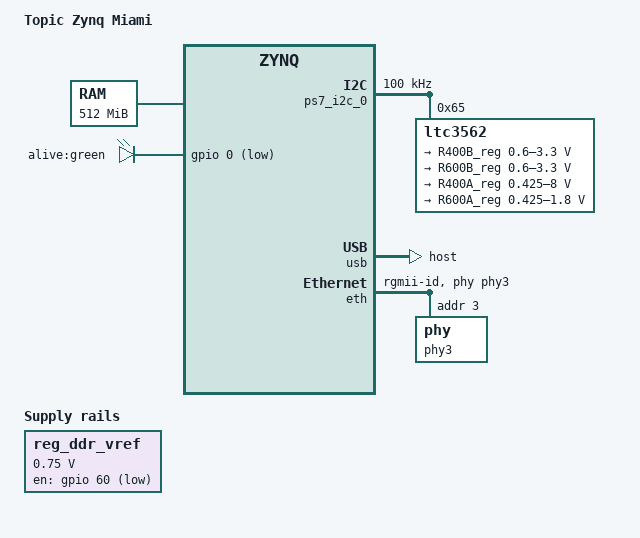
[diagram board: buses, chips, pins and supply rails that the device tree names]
/include/ "zynq.dtsi"

/ {
	model = "Topic Zynq Miami";
	memory {
		device_type = "memory";
		reg = <0x000000000 0x20000000>;
	};

	chosen {
		/* bootargs = "console=ttyPS0,115200 ubi.mtd=qspi-rootfs root=ubi0:qspi-rootfs rw rootfstype=ubifs rootwait"; */
		/* Flash support not ready yet, so default to rootfs on SD first */
		bootargs = "console=ttyPS0,115200 root=/dev/mmcblk0p2 rw rootfstype=ext4 rootwait";
		linux,stdout-path = "/amba@0/uart@E0001000";
	};
};

&qspi0 {
	xlnx,fb-clk = <0x0>;
};

&sdhci0 {
	disable-wp; /* We don't have a write-protect detection */
};

&primary_flash {
	/* Specify flash chip to expect */
	compatible = "s25fl512s";
	/* Partition for 256k erase size */
	partition@qspi-u-boot-spl {
		label = "qspi-u-boot-spl";
		reg = <0x0 0x40000>;
	};
	partition@qspi-u-boot-img {
		label = "qspi-u-boot-img";
		reg = <0x40000 0xC0000>;
	};
	partition@qspi-u-boot-env {
		label = "qspi-u-boot-env";
		reg = <0x100000 0x40000>;
	};
	partition@qspi-device-tree {
		label = "qspi-device-tree";
		reg = <0x140000 0x40000>;
	};
	partition@qspi-linux {
		label = "qspi-linux";
		reg = <0x180000 0x400000>;
	};
	partition@qspi-rootfs {
		label = "qspi-rootfs";
		reg = <0x580000 0x3a80000>;
	};
};

&usb {
	xlnx,phy-reset-gpio = <&gpio 49 0>;
	dr_mode = "host";
};

&clkc {
	ps-clk-frequency = <32000000>;
};

&eth {
	xlnx,enet-reset = "MIO 50";
	phy-mode = "rgmii-id";
	phy-handle = <&phy3>;
	phy3: phy@3 {
		/* compatible = "micrel,..."; */
		device_type = "ethernet-phy";
		reg = <0x3>;
	};
};

/ {
	/* VREF for DDR RAM */
	reg_ddr_vref: regulator_ddr_vref {
		compatible = "regulator-fixed";
		regulator-name = "ddr_vref";
		regulator-min-microvolt = <750000>;
		regulator-max-microvolt = <750000>;
		gpio = <&gpio 60 0>;
		/* Active low is default */
		regulator-always-on;
		regulator-boot-on;
	};

	fpga_axi: fpga_axi@0 {
		compatible = "simple-bus";
		#address-cells = <0x1>;
		#size-cells = <0x1>;
		ranges;

		ps7_i2c_0: ps7-i2c@e0004000 {
			bus-id = <0>;
			clocks = <&clkc 38>;
			compatible = "cdns,i2c-r1p10", "xlnx,ps7-i2c-1.00.a";
			clock-frequency = <100000>;
			interrupt-parent = <&gic>;
			interrupts = <0 25 4>;
			reg = <0xe0004000 0x1000>;
			xlnx,has-interrupt = <0x0>;
			#address-cells = <1>;
			#size-cells = <0>;

			/* IO Voltage controller */
			ltc3562: ltc3562@65 {
				compatible = "ltc3562";
				reg = <0x65>; /* 0b1100101 */
				regulators {
					R400B_reg: R400B {
						regulator-name = "R400B";
						regulator-min-microvolt = <600000>;
						regulator-max-microvolt = <3300000>;
					};
					R600B_reg: R600B {
						regulator-name = "R600B";
						regulator-min-microvolt = <600000>;
						regulator-max-microvolt = <3300000>;
						ltc3562-default-voltage = <3300000>;
						regulator-boot-on;
						regulator-always-on;
					};
					R400A_reg: R400A {
						regulator-name = "R400A";
						regulator-min-microvolt = <425000>;
						regulator-max-microvolt = <8000000>;
						ltc3562-A-r1 = <1>;
						ltc3562-A-r2 = <1>;
					};
					R600A_reg: R600A {
						regulator-name = "R600A";
						regulator-min-microvolt = <425000>;
						regulator-max-microvolt = <1800000>;
						ltc3562-A-r1 = <316>;
						ltc3562-A-r2 = <100>;
						ltc3562-default-voltage = <1800000>;
						regulator-boot-on;
						regulator-always-on;
					};
				};
			};
		};
	};

	leds: leds {
		compatible = "gpio-leds";
		alive {
			label = "alive:green";
			gpios = <&gpio 0 1>; /* Active low */
			linux,default-trigger = "heartbeat";
		};
	};
};
